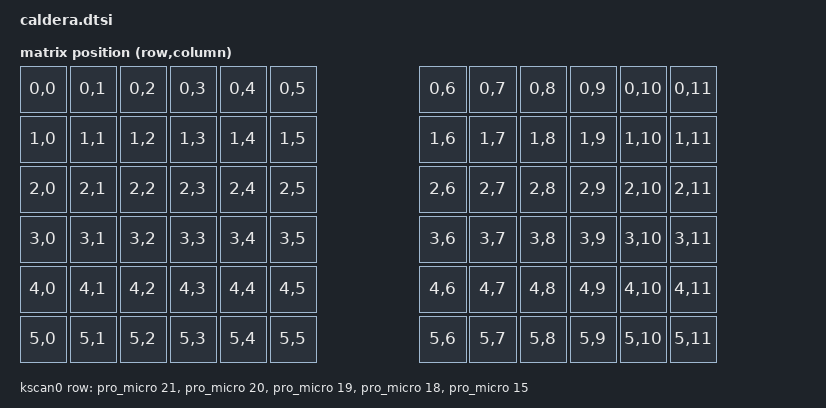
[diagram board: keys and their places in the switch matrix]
#include <dt-bindings/zmk/matrix_transform.h>
#include <physical_layouts.dtsi>

/ {
    chosen {
        zmk,kscan = &kscan0;
        zmk,physical-layout = &caldera_physical_layout;
    };

    caldera_physical_layout: caldera_physical_layout {
        compatible = "zmk,physical-layout";
        display-name = "Caldera";
        transform = <&default_transform>;
        kscan = <&kscan0>;
        // Full split keyboard: 12 cols x 5 rows = 60 keys
        // Left half (cols 0-5): x=0 to x=500. Gap. Right half (cols 6-11): x=700 to x=1200
        //  w    h     x     y     r  rx  ry
        keys = <
            // Row 0
            &key_physical_attrs 100 100   0   0   0   0   0
            &key_physical_attrs 100 100 100   0   0   0   0
            &key_physical_attrs 100 100 200   0   0   0   0
            &key_physical_attrs 100 100 300   0   0   0   0
            &key_physical_attrs 100 100 400   0   0   0   0
            &key_physical_attrs 100 100 500   0   0   0   0
            &key_physical_attrs 100 100 700   0   0   0   0
            &key_physical_attrs 100 100 800   0   0   0   0
            &key_physical_attrs 100 100 900   0   0   0   0
            &key_physical_attrs 100 100 1000   0   0   0   0
            &key_physical_attrs 100 100 1100   0   0   0   0
            &key_physical_attrs 100 100 1200   0   0   0   0

            // Row 1
            &key_physical_attrs 100 100   0 100   0   0   0
            &key_physical_attrs 100 100 100 100   0   0   0
            &key_physical_attrs 100 100 200 100   0   0   0
            &key_physical_attrs 100 100 300 100   0   0   0
            &key_physical_attrs 100 100 400 100   0   0   0
            &key_physical_attrs 100 100 500 100   0   0   0
            &key_physical_attrs 100 100 700 100   0   0   0
            &key_physical_attrs 100 100 800 100   0   0   0
            &key_physical_attrs 100 100 900 100   0   0   0
            &key_physical_attrs 100 100 1000 100   0   0   0
            &key_physical_attrs 100 100 1100 100   0   0   0
            &key_physical_attrs 100 100 1200 100   0   0   0

            // Row 2
            &key_physical_attrs 100 100   0 200   0   0   0
            &key_physical_attrs 100 100 100 200   0   0   0
            &key_physical_attrs 100 100 200 200   0   0   0
            &key_physical_attrs 100 100 300 200   0   0   0
            &key_physical_attrs 100 100 400 200   0   0   0
            &key_physical_attrs 100 100 500 200   0   0   0
            &key_physical_attrs 100 100 700 200   0   0   0
            &key_physical_attrs 100 100 800 200   0   0   0
            &key_physical_attrs 100 100 900 200   0   0   0
            &key_physical_attrs 100 100 1000 200   0   0   0
            &key_physical_attrs 100 100 1100 200   0   0   0
            &key_physical_attrs 100 100 1200 200   0   0   0

            // Row 3
            &key_physical_attrs 100 100   0 300   0   0   0
            &key_physical_attrs 100 100 100 300   0   0   0
            &key_physical_attrs 100 100 200 300   0   0   0
            &key_physical_attrs 100 100 300 300   0   0   0
            &key_physical_attrs 100 100 400 300   0   0   0
            &key_physical_attrs 100 100 500 300   0   0   0
            &key_physical_attrs 100 100 700 300   0   0   0
            &key_physical_attrs 100 100 800 300   0   0   0
            &key_physical_attrs 100 100 900 300   0   0   0
            &key_physical_attrs 100 100 1000 300   0   0   0
            &key_physical_attrs 100 100 1100 300   0   0   0
            &key_physical_attrs 100 100 1200 300   0   0   0

            // Row 4
            &key_physical_attrs 100 100   0 400   0   0   0
            &key_physical_attrs 100 100 100 400   0   0   0
            &key_physical_attrs 100 100 200 400   0   0   0
            &key_physical_attrs 100 100 300 400   0   0   0
            &key_physical_attrs 100 100 400 400   0   0   0
            &key_physical_attrs 100 100 500 400   0   0   0
            &key_physical_attrs 100 100 700 400   0   0   0
            &key_physical_attrs 100 100 800 400   0   0   0
            &key_physical_attrs 100 100 900 400   0   0   0
            &key_physical_attrs 100 100 1000 400   0   0   0
            &key_physical_attrs 100 100 1100 400   0   0   0
            &key_physical_attrs 100 100 1200 400   0   0   0
        >;
    };

    default_transform: keymap_transform_0 {
        compatible = "zmk,matrix-transform";
        columns = <12>;
        rows = <5>;
// | SW6  | SW5  | SW4  | SW3  | SW2  | SW1  |                 | SW1  | SW2  | SW3  | SW4  | SW5  | SW6  |
// | SW12 | SW11 | SW10 | SW9  | SW8  | SW7  |                 | SW7  | SW8  | SW9  | SW10 | SW11 | SW12 |
// | SW18 | SW17 | SW16 | SW15 | SW14 | SW13 |                 | SW13 | SW14 | SW15 | SW16 | SW17 | SW18 |
// | SW24 | SW23 | SW22 | SW21 | SW20 | SW19 |                 | SW19 | SW20 | SW21 | SW22 | SW23 | SW24 |
// | SW30 | SW29 | SW28 | SW27 | SW26 | SW25 |                 | SW25 | SW26 | SW27 | SW28 | SW29 | SW30 |

        map = <
RC(0,0) RC(0,1) RC(0,2) RC(0,3) RC(0,4) RC(0,5)                 RC(0,6) RC(0,7) RC(0,8) RC(0,9) RC(0,10) RC(0,11)
RC(1,0) RC(1,1) RC(1,2) RC(1,3) RC(1,4) RC(1,5)                 RC(1,6) RC(1,7) RC(1,8) RC(1,9) RC(1,10) RC(1,11)
RC(2,0) RC(2,1) RC(2,2) RC(2,3) RC(2,4) RC(2,5)                 RC(2,6) RC(2,7) RC(2,8) RC(2,9) RC(2,10) RC(2,11)
RC(3,0) RC(3,1) RC(3,2) RC(3,3) RC(3,4) RC(3,5)                 RC(3,6) RC(3,7) RC(3,8) RC(3,9) RC(3,10) RC(3,11)
RC(4,0) RC(4,1) RC(4,2) RC(4,3) RC(4,4) RC(4,5)                 RC(4,6) RC(4,7) RC(4,8) RC(4,9) RC(4,10) RC(4,11)
RC(5,0) RC(5,1) RC(5,2) RC(5,3) RC(5,4) RC(5,5)                 RC(5,6) RC(5,7) RC(5,8) RC(5,9) RC(5,10) RC(5,11)
        >;
    };

    kscan0: kscan {
        compatible = "zmk,kscan-gpio-matrix";
        wakeup-source;
        diode-direction = "col2row";
        row-gpios
            = <&pro_micro 21 (GPIO_ACTIVE_HIGH | GPIO_PULL_DOWN)> // Row A from the schematic file
            , <&pro_micro 20 (GPIO_ACTIVE_HIGH | GPIO_PULL_DOWN)> // Row B from the schematic file
            , <&pro_micro 19 (GPIO_ACTIVE_HIGH | GPIO_PULL_DOWN)> // Row C from the schematic file
            , <&pro_micro 18 (GPIO_ACTIVE_HIGH | GPIO_PULL_DOWN)> // Row D from the schematic file
            , <&pro_micro 15 (GPIO_ACTIVE_HIGH | GPIO_PULL_DOWN)> // Row E from the schematic file
            ;

    };
};
